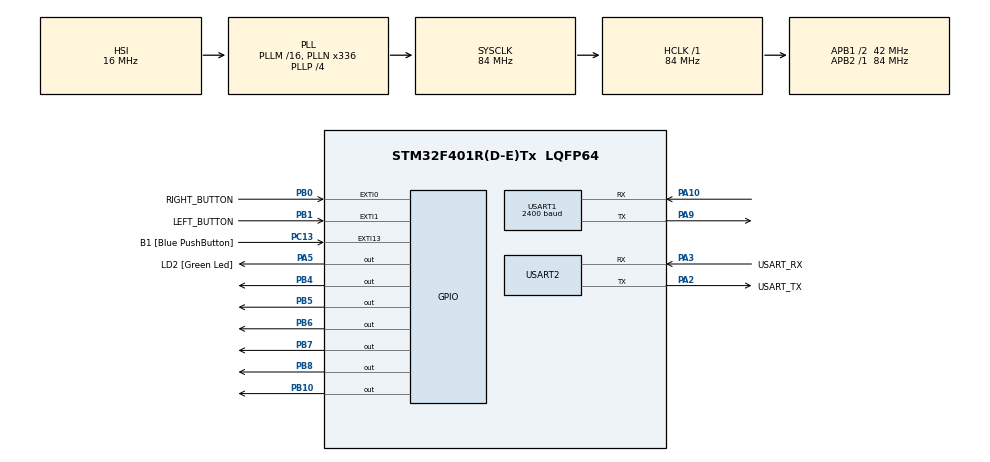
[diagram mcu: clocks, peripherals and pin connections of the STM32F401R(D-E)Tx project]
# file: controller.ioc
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Mcu.Family=STM32F4
Mcu.Name=STM32F401R(D-E)Tx
Mcu.Package=LQFP64
NVIC.EXTI0_IRQn=true\:0\:0\:false\:false\:true\:true\:true\:true
NVIC.EXTI1_IRQn=true\:0\:0\:false\:false\:true\:true\:true\:true
NVIC.PriorityGroup=NVIC_PRIORITYGROUP_0
NVIC.USART1_IRQn=true\:0\:0\:false\:false\:true\:true\:true\:true
PA10.Mode=Asynchronous
PA10.Signal=USART1_RX
PA13.GPIO_Label=TMS
PA13.Mode=Serial_Wire
PA13.Signal=SYS_JTMS-SWDIO
PA14.GPIO_Label=TCK
PA14.Mode=Serial_Wire
PA14.Signal=SYS_JTCK-SWCLK
PA2.GPIO_Label=USART_TX
PA2.GPIO_Mode=GPIO_MODE_AF_PP
PA2.GPIO_PuPd=GPIO_NOPULL
PA2.GPIO_Speed=GPIO_SPEED_FREQ_LOW
PA2.Mode=Asynchronous
PA2.Signal=USART2_TX
PA3.GPIO_Label=USART_RX
PA3.GPIO_Mode=GPIO_MODE_AF_PP
PA3.GPIO_PuPd=GPIO_NOPULL
PA3.GPIO_Speed=GPIO_SPEED_FREQ_LOW
PA3.Mode=Asynchronous
PA3.Signal=USART2_RX
PA5.GPIO_Label=LD2 [Green Led]
PA5.GPIO_Mode=GPIO_MODE_OUTPUT_PP
PA5.GPIO_PuPd=GPIO_NOPULL
PA5.GPIO_Speed=GPIO_SPEED_FREQ_LOW
PA5.Signal=GPIO_Output
PA9.Mode=Asynchronous
PA9.Signal=USART1_TX
PB0.GPIO_Label=RIGHT_BUTTON
PB0.GPIO_ModeDefaultEXTI=GPIO_MODE_IT_RISING_FALLING
PB0.GPIO_PuPd=GPIO_PULLDOWN
PB0.Signal=GPXTI0
PB1.GPIO_Label=LEFT_BUTTON
PB1.GPIO_ModeDefaultEXTI=GPIO_MODE_IT_RISING_FALLING
PB1.GPIO_PuPd=GPIO_PULLDOWN
PB1.Signal=GPXTI1
PB10.Signal=GPIO_Output
PB3.GPIO_Label=SWO
PB3.Signal=SYS_JTDO-SWO
PB4.Signal=GPIO_Output
PB5.Signal=GPIO_Output
PB6.Signal=GPIO_Output
PB7.Signal=GPIO_Output
PB8.Signal=GPIO_Output
PC13-ANTI_TAMP.GPIO_Label=B1 [Blue PushButton]
PC13-ANTI_TAMP.GPIO_ModeDefaultEXTI=GPIO_MODE_IT_FALLING
PC13-ANTI_TAMP.GPIO_PuPd=GPIO_NOPULL
PC13-ANTI_TAMP.Signal=GPXTI13
PC14-OSC32_IN.Mode=LSE-External-Oscillator
PC14-OSC32_IN.Signal=RCC_OSC32_IN
PC15-OSC32_OUT.Mode=LSE-External-Oscillator
PC15-OSC32_OUT.Signal=RCC_OSC32_OUT
PH0\ -\ OSC_IN.Mode=HSE-External-Clock-Source
PH0\ -\ OSC_IN.Signal=RCC_OSC_IN
PH1\ -\ OSC_OUT.Mode=HSE-External-Clock-Source
PH1\ -\ OSC_OUT.Signal=RCC_OSC_OUT
ProjectManager.HeapSize=0x200
ProjectManager.StackSize=0x400
ProjectManager.TargetToolchain=MDK-ARM V5.32
RCC.48MHZClocksFreq_Value=48000000
RCC.AHBFreq_Value=84000000
RCC.APB1CLKDivider=RCC_HCLK_DIV2
RCC.APB1Freq_Value=42000000
RCC.APB1TimFreq_Value=84000000
RCC.APB2Freq_Value=84000000
RCC.APB2TimFreq_Value=84000000
RCC.CortexFreq_Value=84000000
RCC.HCLKFreq_Value=84000000
RCC.HSE_VALUE=8000000
RCC.HSI_VALUE=16000000
RCC.PLLN=336
RCC.PLLP=RCC_PLLP_DIV4
RCC.PLLQ=7
RCC.SYSCLKFreq_VALUE=84000000
RCC.SYSCLKSource=RCC_SYSCLKSOURCE_PLLCLK
RCC.VCOOutputFreq_Value=336000000
USART1.BaudRate=2400
USART1.VirtualMode=VM_ASYNC
USART2.VirtualMode=VM_ASYNC
board=NUCLEO-F401RE

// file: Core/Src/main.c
/* USER CODE BEGIN Header */
/**
  ******************************************************************************
  * @file           : main.c
  * @brief          : Main program body
  ******************************************************************************
  * @attention
  *
  * Copyright (c) 2023 STMicroelectronics.
  * All rights reserved.
  *
  * This software is licensed under terms that can be found in the LICENSE file
  * in the root directory of this software component.
  * If no LICENSE file comes with this software, it is provided AS-IS.
  *
  ******************************************************************************
  */
/* USER CODE END Header */
#include "main.h"

/* USER CODE BEGIN Includes */

#include "lcd.h"
#include <stdio.h>

/* USER CODE END Includes */

/* USER CODE BEGIN PTD */

#define DIRECTION_RIGHT ((uint8_t) 0x01UL)
#define DIRECTION_LEFT ((uint8_t) 0x02UL)
#define DIRECTION_STOP ((uint8_t) 0x00UL)

#define STATUS_WIN ((uint8_t) 'W')
#define STATUS_LOSE ((uint8_t) 'L')
#define STATUS_ONGOING ((uint8_t) 'O')

/* USER CODE END PTD */

 UART_HandleTypeDef huart1;
UART_HandleTypeDef huart2;

/* USER CODE BEGIN PV */

static uint8_t Direction = DIRECTION_STOP;
static uint8_t RightIsPushed = 0;
static uint8_t LeftIsPushed = 0;
static uint8_t DirectionUpdated = 0;
static uint8_t ReceiveBuffer[1] = {0};
static uint8_t GameScore = 0;
static uint8_t GameStatus = STATUS_ONGOING;
static uint8_t GameDataUpdated = 0;

/* USER CODE END PV */

void SystemClock_Config(void);
static void MX_GPIO_Init(void);
static void MX_USART2_UART_Init(void);
static void MX_USART1_UART_Init(void);
/* USER CODE BEGIN PFP */

void UpdateDirection();
void SendDirection();
uint8_t EncodeDirection(uint8_t);
void DecodeReceivedData(uint8_t);
void DisplayGameData();

/* USER CODE END PFP */

int main(void)
{
  /* USER CODE BEGIN 1 */
	uint8_t LastDirection = Direction;
  /* USER CODE END 1 */

  /* MCU Configuration--------------------------------------------------------*/

  /* Reset of all peripherals, Initializes the Flash interface and the Systick. */
  HAL_Init();

  /* Configure the system clock */
  SystemClock_Config();

  /* Initialize all configured peripherals */
  MX_GPIO_Init();
  MX_USART2_UART_Init();
  MX_USART1_UART_Init();
  /* USER CODE BEGIN 2 */

	initLCD();
	HAL_UART_Receive_IT(&huart1, ReceiveBuffer, 1);

	LCD_String("Hello!");

  /* USER CODE END 2 */

  /* Infinite loop */
  /* USER CODE BEGIN WHILE */
  while (1)
  {
		__WFI();

		if (DirectionUpdated)
		{
			DirectionUpdated = 0;
			if (LastDirection != Direction)
			{
				SendDirection();
				LastDirection = Direction;
			}
		}

		if (GameDataUpdated)
		{
			GameDataUpdated = 0;
			DisplayGameData();
			HAL_UART_Receive_IT(&huart1, ReceiveBuffer, 1);
		}
    /* USER CODE END WHILE */

  }
}

void SystemClock_Config(void)
{
  RCC_OscInitTypeDef RCC_OscInitStruct = {0};
  RCC_ClkInitTypeDef RCC_ClkInitStruct = {0};

  /** Configure the main internal regulator output voltage
  */
  __HAL_RCC_PWR_CLK_ENABLE();
  __HAL_PWR_VOLTAGESCALING_CONFIG(PWR_REGULATOR_VOLTAGE_SCALE2);

  /** Initializes the RCC Oscillators according to the specified parameters
  * in the RCC_OscInitTypeDef structure.
  */
  RCC_OscInitStruct.OscillatorType = RCC_OSCILLATORTYPE_HSI;
  RCC_OscInitStruct.HSIState = RCC_HSI_ON;
  RCC_OscInitStruct.HSICalibrationValue = RCC_HSICALIBRATION_DEFAULT;
  RCC_OscInitStruct.PLL.PLLState = RCC_PLL_ON;
  RCC_OscInitStruct.PLL.PLLSource = RCC_PLLSOURCE_HSI;
  RCC_OscInitStruct.PLL.PLLM = 16;
  RCC_OscInitStruct.PLL.PLLN = 336;
  RCC_OscInitStruct.PLL.PLLP = RCC_PLLP_DIV4;
  RCC_OscInitStruct.PLL.PLLQ = 7;
  if (HAL_RCC_OscConfig(&RCC_OscInitStruct) != HAL_OK)
  {
    Error_Handler();
  }

  /** Initializes the CPU, AHB and APB buses clocks
  */
  RCC_ClkInitStruct.ClockType = RCC_CLOCKTYPE_HCLK|RCC_CLOCKTYPE_SYSCLK
                              |RCC_CLOCKTYPE_PCLK1|RCC_CLOCKTYPE_PCLK2;
  RCC_ClkInitStruct.SYSCLKSource = RCC_SYSCLKSOURCE_PLLCLK;
  RCC_ClkInitStruct.AHBCLKDivider = RCC_SYSCLK_DIV1;
  RCC_ClkInitStruct.APB1CLKDivider = RCC_HCLK_DIV2;
  RCC_ClkInitStruct.APB2CLKDivider = RCC_HCLK_DIV1;

  if (HAL_RCC_ClockConfig(&RCC_ClkInitStruct, FLASH_LATENCY_2) != HAL_OK)
  {
    Error_Handler();
  }
}

static void MX_USART1_UART_Init(void)
{

  huart1.Instance = USART1;
  huart1.Init.BaudRate = 2400;
  huart1.Init.WordLength = UART_WORDLENGTH_8B;
  huart1.Init.StopBits = UART_STOPBITS_1;
  huart1.Init.Parity = UART_PARITY_NONE;
  huart1.Init.Mode = UART_MODE_TX_RX;
  huart1.Init.HwFlowCtl = UART_HWCONTROL_NONE;
  huart1.Init.OverSampling = UART_OVERSAMPLING_16;
  if (HAL_UART_Init(&huart1) != HAL_OK)
  {
    Error_Handler();
  }

}

static void MX_USART2_UART_Init(void)
{

  huart2.Instance = USART2;
  huart2.Init.BaudRate = 115200;
  huart2.Init.WordLength = UART_WORDLENGTH_8B;
  huart2.Init.StopBits = UART_STOPBITS_1;
  huart2.Init.Parity = UART_PARITY_NONE;
  huart2.Init.Mode = UART_MODE_TX_RX;
  huart2.Init.HwFlowCtl = UART_HWCONTROL_NONE;
  huart2.Init.OverSampling = UART_OVERSAMPLING_16;
  if (HAL_UART_Init(&huart2) != HAL_OK)
  {
    Error_Handler();
  }

}

static void MX_GPIO_Init(void)
{
  GPIO_InitTypeDef GPIO_InitStruct = {0};

  /* GPIO Ports Clock Enable */
  __HAL_RCC_GPIOC_CLK_ENABLE();
  __HAL_RCC_GPIOH_CLK_ENABLE();
  __HAL_RCC_GPIOA_CLK_ENABLE();
  __HAL_RCC_GPIOB_CLK_ENABLE();

  /*Configure GPIO pin Output Level */
  HAL_GPIO_WritePin(LD2_GPIO_Port, LD2_Pin, GPIO_PIN_RESET);

  /*Configure GPIO pin Output Level */
  HAL_GPIO_WritePin(GPIOB, GPIO_PIN_10|GPIO_PIN_4|GPIO_PIN_5|GPIO_PIN_6
                          |GPIO_PIN_7|GPIO_PIN_8, GPIO_PIN_RESET);

  /*Configure GPIO pin : B1_Pin */
  GPIO_InitStruct.Pin = B1_Pin;
  GPIO_InitStruct.Mode = GPIO_MODE_IT_FALLING;
  GPIO_InitStruct.Pull = GPIO_NOPULL;
  HAL_GPIO_Init(B1_GPIO_Port, &GPIO_InitStruct);

  /*Configure GPIO pin : LD2_Pin */
  GPIO_InitStruct.Pin = LD2_Pin;
  GPIO_InitStruct.Mode = GPIO_MODE_OUTPUT_PP;
  GPIO_InitStruct.Pull = GPIO_NOPULL;
  GPIO_InitStruct.Speed = GPIO_SPEED_FREQ_LOW;
  HAL_GPIO_Init(LD2_GPIO_Port, &GPIO_InitStruct);

  /*Configure GPIO pins : RIGHT_BUTTON_Pin LEFT_BUTTON_Pin */
  GPIO_InitStruct.Pin = RIGHT_BUTTON_Pin|LEFT_BUTTON_Pin;
  GPIO_InitStruct.Mode = GPIO_MODE_IT_RISING_FALLING;
  GPIO_InitStruct.Pull = GPIO_PULLDOWN;
  HAL_GPIO_Init(GPIOB, &GPIO_InitStruct);

  /*Configure GPIO pins : PB10 PB4 PB5 PB6
                           PB7 PB8 */
  GPIO_InitStruct.Pin = GPIO_PIN_10|GPIO_PIN_4|GPIO_PIN_5|GPIO_PIN_6
                          |GPIO_PIN_7|GPIO_PIN_8;
  GPIO_InitStruct.Mode = GPIO_MODE_OUTPUT_PP;
  GPIO_InitStruct.Pull = GPIO_NOPULL;
  GPIO_InitStruct.Speed = GPIO_SPEED_FREQ_LOW;
  HAL_GPIO_Init(GPIOB, &GPIO_InitStruct);

  /* EXTI interrupt init*/
  HAL_NVIC_SetPriority(EXTI0_IRQn, 0, 0);
  HAL_NVIC_EnableIRQ(EXTI0_IRQn);

  HAL_NVIC_SetPriority(EXTI1_IRQn, 0, 0);
  HAL_NVIC_EnableIRQ(EXTI1_IRQn);

}

/* USER CODE BEGIN 4 */

void UpdateDirection()
{

	if ((RightIsPushed) && (LeftIsPushed))
	{
		Direction = DIRECTION_STOP;
	} else if (RightIsPushed) {
		Direction = DIRECTION_RIGHT;
	} else if (LeftIsPushed) {
		Direction = DIRECTION_LEFT;
	} else {
		Direction = DIRECTION_STOP;
	}

	DirectionUpdated = 1;
}

void SendDirection()
{
	uint8_t data = EncodeDirection(Direction);
	HAL_UART_Transmit(&huart1, &data, 1, 500);
}

uint8_t EncodeDirection(uint8_t data)
{
	switch (data)
	{
		case DIRECTION_RIGHT:
			return 'R';
		case DIRECTION_LEFT:
			return 'L';
		case DIRECTION_STOP:
			return 'S';
	}

	return '-';
}

void DecodeReceivedData(uint8_t data)
{
	switch (data)
	{
		case STATUS_WIN:
		case STATUS_LOSE:
		case STATUS_ONGOING:
			GameStatus = data;
			GameScore = 0;
			break;
		default:
			GameScore = data;
			GameStatus = STATUS_ONGOING;
			break;
	}
}

void HAL_GPIO_EXTI_Callback(uint16_t GPIO_Pin)
{
	if (GPIO_Pin == RIGHT_BUTTON_Pin)
	{
		RightIsPushed = HAL_GPIO_ReadPin(RIGHT_BUTTON_GPIO_Port, RIGHT_BUTTON_Pin);
		UpdateDirection();

	} else if (GPIO_Pin == LEFT_BUTTON_Pin)
	{
		LeftIsPushed = HAL_GPIO_ReadPin(LEFT_BUTTON_GPIO_Port, LEFT_BUTTON_Pin);
		UpdateDirection();
	}
}

void HAL_UART_RxCpltCallback (UART_HandleTypeDef * huart)
{
	if (huart->Instance == USART1)
	{
		DecodeReceivedData(ReceiveBuffer[0]);
		GameDataUpdated = 1;
	}
}

void DisplayGameData()
{
	static char str[21];

	LCD_Command(LCD_Clear);

	if (GameStatus == STATUS_WIN)
	{
		LCD_String("YOU WON!");
		return;
	}

	if (GameStatus == STATUS_LOSE)
	{
		LCD_String("YOU LOST :(");
		return;
	}

	sprintf(str, "%d", GameScore);
	LCD_String(str);
}

/* USER CODE END 4 */

void Error_Handler(void)
{
  __disable_irq();
  while (1)
  {
  }
}
